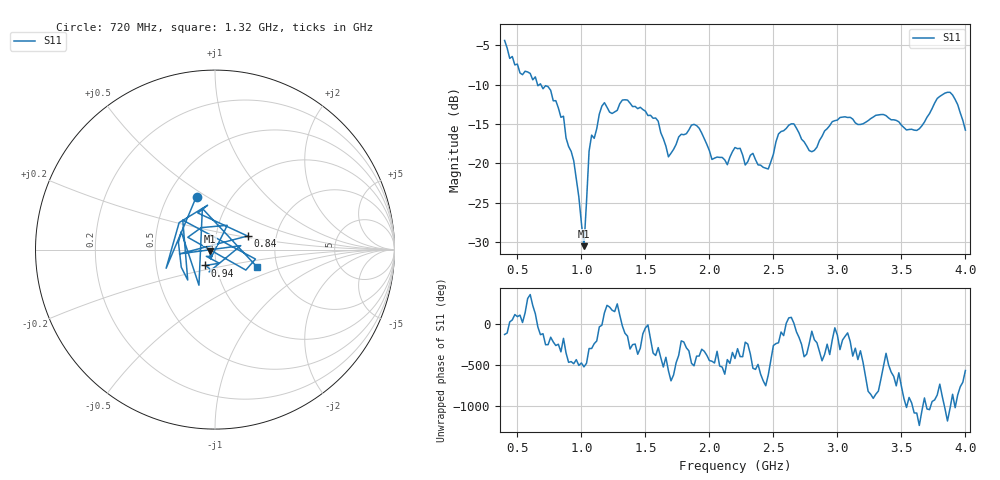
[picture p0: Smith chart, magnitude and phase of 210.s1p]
!Created with skrf (http://scikit-rf.org).
# Hz S RI R 50.0
!freq ReS11 ImS11
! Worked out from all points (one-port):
!   181 points, 400 MHz to 4 GHz, reference 50 ohm
!   lowest |S11| = -30.5 dB at 1.02 GHz (marker M1), VSWR 1.06, Z = 47.3 - j0.968 ohm
!   |S11| at or under -10 dB: 657.9 MHz to 669.9 MHz (12.08 MHz wide, 1.82 % of centre); 683.9 MHz to end of sweep
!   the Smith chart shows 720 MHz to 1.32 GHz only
!   S11 on the Smith chart (normalised r, x): 720 MHz: 0.69, +0.45; 840 MHz: 1.42, +0.22; 940 MHz: 0.88, -0.16; 1.32 GHz: 1.57, -0.32
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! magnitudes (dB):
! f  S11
! 400 MHz  -4.4
! 520 MHz  -8.5
! 720 MHz  -10.1
! 840 MHz  -14.1
! 860 MHz  -14.0
! 940 MHz  -19.7
! 1.02 GHz  -30.5
! 1.06 GHz  -18.4
! 1.08 GHz  -16.4
! 1.18 GHz  -12.3
! 1.3 GHz  -12.4
! 1.32 GHz  -11.9
! 1.58 GHz  -14.2
! 1.68 GHz  -19.2
! 1.76 GHz  -16.6
! 1.9 GHz  -15.2
! 2.02 GHz  -19.5
! 2.14 GHz  -20.2
! 2.2 GHz  -18.0
! 2.46 GHz  -20.7
! 2.54 GHz  -16.2
! 2.66 GHz  -15.0
! 2.8 GHz  -18.5
! 2.96 GHz  -14.7
! 3.1 GHz  -14.1
! 3.56 GHz  -15.7
! 3.88 GHz  -11.0
! 4 GHz  -15.8
